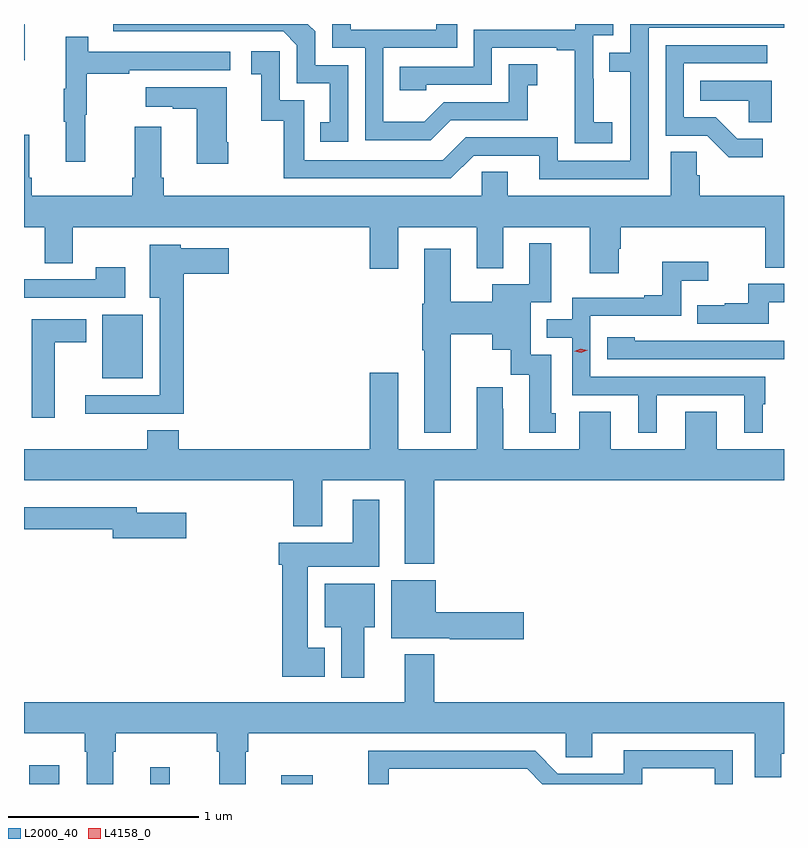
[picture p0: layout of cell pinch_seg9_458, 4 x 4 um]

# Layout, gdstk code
import gdstk
lib = gdstk.Library(unit=1e-6, precision=1e-09)
def R(c, l, rs):  # rectangles x0, y0, x1, y1
    for r in rs: c.add(gdstk.rectangle(r[:2], r[2:], *l))
def P(c, l, *ps):  # polygons
    for p in ps: c.add(gdstk.Polygon(p, *l))
L2000_40 = (2000, 40)
L4158_0 = (4158, 0)

pinch_seg9_458 = lib.new_cell('pinch_seg9_458')
R(pinch_seg9_458, L2000_40, [(348.944,1165.517,349.102,1165.615), (349.58,1165.517,349.682,1165.606), (350.27,1165.517,350.436,1165.564), (349.328,1167.653,349.54,1167.988), (348.916,1169.325,348.921,1169.517)])
P(pinch_seg9_458, L2000_40, [(352.012,1168.999),(351.914,1168.999),(351.914,1169.228),(351.912,1169.228),(351.912,1169.457),(352.017,1169.457),(352.017,1169.517),(351.816,1169.517),(351.816,1169.487),(351.282,1169.487),(351.282,1169.292),(350.893,1169.292),(350.893,1169.169),(351.033,1169.169),(351.033,1169.196),(351.378,1169.196),(351.378,1169.391),(351.719,1169.391),(351.719,1169.379),(351.815,1169.379),(351.815,1169.095),(351.814,1169.095),(351.814,1168.889),(352.012,1168.889)],
  [(350.622,1169.301),(350.448,1169.301),(350.448,1169.478),(350.409,1169.517),(349.386,1169.517),(349.386,1169.478),(350.28,1169.478),(350.352,1169.406),(350.352,1169.205),(350.525,1169.205),(350.525,1169.001),(350.476,1169.001),(350.476,1168.896),(350.622,1168.896)],
  [(351.163,1169.01),(351.567,1169.01),(351.567,1169.195),(351.616,1169.195),(351.616,1169.305),(351.468,1169.305),(351.468,1169.106),(351.126,1169.106),(351.022,1169.002),(350.808,1169.002),(350.808,1169.391),(351.197,1169.391),(351.197,1169.517),(351.086,1169.517),(351.086,1169.487),(350.635,1169.487),(350.635,1169.517),(350.538,1169.517),(350.538,1169.391),(350.712,1169.391),(350.712,1168.905),(351.058,1168.905)],
  [(352.203,1169.496),(352.916,1169.496),(352.916,1169.517),(352.107,1169.517),(352.107,1169.367),(351.997,1169.367),(351.997,1169.266),(352.107,1169.266),(352.107,1168.797),(351.726,1168.797),(351.726,1168.92),(351.24,1168.92),(351.12,1168.8),(350.391,1168.8),(350.391,1169.115),(350.262,1169.115),(350.262,1169.374),(350.112,1169.374),(350.112,1169.253),(350.165,1169.253),(350.165,1169.007),(350.283,1169.007),(350.283,1168.704),(351.162,1168.704),(351.282,1168.824),(351.629,1168.824),(351.629,1168.701),(352.203,1168.701)],
  [(349.238,1169.04),(349.246,1169.04),(349.246,1169.254),(349.469,1169.254),(349.469,1169.274),(350.002,1169.274),(350.002,1169.37),(349.253,1169.37),(349.253,1169.449),(349.136,1169.449),(349.136,1169.177),(349.125,1169.177),(349.125,1169.003),(349.136,1169.003),(349.136,1168.791),(349.238,1168.791)],
  [(352.804,1168.914),(352.669,1168.914),(352.558,1169.025),(352.389,1169.025),(352.389,1169.31),(352.828,1169.31),(352.828,1169.406),(352.293,1169.406),(352.293,1168.929),(352.512,1168.929),(352.625,1168.817),(352.804,1168.817)],
  [(352.852,1169.218),(352.474,1169.218),(352.474,1169.114),(352.731,1169.114),(352.731,1168.999),(352.852,1168.999)],
  [(349.992,1168.894),(349.984,1168.894),(349.984,1169.185),(349.557,1169.185),(349.557,1169.081),(349.7,1169.081),(349.7,1169.071),(349.826,1169.071),(349.826,1168.782),(349.992,1168.782)],
  [(352.045,1168.335),(352.058,1168.335),(352.058,1168.448),(352.818,1168.448),(352.818,1168.234),(352.916,1168.234),(352.916,1168.612),(352.472,1168.612),(352.472,1168.721),(352.458,1168.721),(352.458,1168.844),(352.319,1168.844),(352.319,1168.612),(351.463,1168.612),(351.463,1168.739),(351.324,1168.739),(351.324,1168.612),(349.652,1168.612),(349.652,1168.708),(349.639,1168.708),(349.639,1168.975),(349.499,1168.975),(349.499,1168.708),(349.487,1168.708),(349.487,1168.612),(348.956,1168.612),(348.956,1168.708),(348.943,1168.708),(348.943,1168.933),(348.916,1168.933),(348.916,1168.448),(349.025,1168.448),(349.025,1168.258),(349.173,1168.258),(349.173,1168.448),(350.735,1168.448),(350.735,1168.23),(350.887,1168.23),(350.887,1168.448),(351.299,1168.448),(351.299,1168.232),(351.439,1168.232),(351.439,1168.448),(351.893,1168.448),(351.893,1168.206),(352.045,1168.206)],
  [(351.163,1167.884),(351.38,1167.884),(351.38,1167.803),(351.479,1167.803),(351.479,1167.672),(351.575,1167.672),(351.575,1167.366),(351.715,1167.366),(351.715,1167.468),(351.691,1167.468),(351.691,1167.777),(351.582,1167.777),(351.582,1168.053),(351.691,1168.053),(351.691,1168.363),(351.575,1168.363),(351.575,1168.147),(351.38,1168.147),(351.38,1168.056),(351.163,1168.056),(351.163,1168.333),(351.023,1168.333),(351.023,1168.044),(351.011,1168.044),(351.011,1167.8),(351.023,1167.8),(351.023,1167.365),(351.163,1167.365)],
  [(349.757,1168.202),(349.993,1168.202),(349.993,1168.336),(349.74,1168.336),(349.74,1168.354),(349.577,1168.354),(349.577,1168.076),(349.631,1168.076),(349.631,1167.564),(349.239,1167.564),(349.239,1167.467),(349.757,1167.467)],
  [(352.246,1167.564),(352.706,1167.564),(352.706,1167.365),(352.804,1167.365),(352.804,1167.516),(352.816,1167.516),(352.816,1167.66),(351.897,1167.66),(351.897,1167.981),(352.374,1167.981),(352.374,1168.166),(352.516,1168.166),(352.516,1168.265),(352.276,1168.265),(352.276,1168.09),(352.181,1168.09),(352.181,1168.077),(351.801,1168.077),(351.801,1167.963),(351.668,1167.963),(351.668,1167.867),(351.801,1167.867),(351.801,1167.564),(352.148,1167.564),(352.148,1167.365),(352.246,1167.365)],
  [(349.45,1168.237),(349.294,1168.237),(349.294,1168.173),(348.916,1168.173),(348.916,1168.077),(349.45,1168.077)],
  [(352.837,1168.052),(352.916,1168.052),(352.916,1168.149),(352.727,1168.149),(352.727,1168.048),(352.603,1168.048),(352.603,1168.036),(352.459,1168.036),(352.459,1167.939),(352.837,1167.939)],
  [(349.078,1167.842),(349.243,1167.842),(349.243,1167.964),(348.956,1167.964),(348.956,1167.444),(349.078,1167.444)],
  [(352.916,1167.849),(352.367,1167.849),(352.367,1167.85),(352.131,1167.85),(352.131,1167.868),(351.987,1167.868),(351.987,1167.753),(352.916,1167.753)],
  [(351.074,1167.116),(352.916,1167.116),(352.916,1167.28),(352.561,1167.28),(352.561,1167.475),(352.397,1167.475),(352.397,1167.28),(352.003,1167.28),(352.003,1167.475),(351.839,1167.475),(351.839,1167.28),(351.439,1167.28),(351.439,1167.491),(351.436,1167.491),(351.436,1167.604),(351.299,1167.604),(351.299,1167.28),(350.887,1167.28),(350.887,1167.682),(350.735,1167.682),(350.735,1167.28),(349.73,1167.28),(349.73,1167.379),(349.565,1167.379),(349.565,1167.28),(348.916,1167.28),(348.916,1167.116),(350.333,1167.116),(350.333,1166.873),(350.485,1166.873),(350.485,1167.116),(350.921,1167.116),(350.921,1166.675),(351.074,1166.675)],
  [(350.5,1166.233),(350.41,1166.233),(350.41,1166.66),(350.785,1166.66),(350.785,1167.013),(350.645,1167.013),(350.645,1166.788),(350.258,1166.788),(350.258,1166.67),(350.276,1166.67),(350.276,1166.081),(350.5,1166.081)],
  [(349.771,1166.944),(349.51,1166.944),(349.51,1166.974),(348.916,1166.974),(348.916,1166.857),(349.382,1166.857),(349.382,1166.81),(349.771,1166.81)],
  [(351.547,1166.42),(351.082,1166.42),(351.082,1166.59),(350.849,1166.59),(350.849,1166.285),(351.157,1166.285),(351.157,1166.278),(351.547,1166.278)],
  [(350.707,1166.342),(350.761,1166.342),(350.761,1166.572),(350.498,1166.572),(350.498,1166.342),(350.585,1166.342),(350.585,1166.076),(350.707,1166.076)],
  [(349.387,1165.688),(349.4,1165.688),(349.4,1165.784),(349.931,1165.784),(349.931,1165.688),(349.943,1165.688),(349.943,1165.517),(350.083,1165.517),(350.083,1165.688),(350.096,1165.688),(350.096,1165.784),(351.768,1165.784),(351.768,1165.657),(351.907,1165.657),(351.907,1165.784),(352.763,1165.784),(352.763,1165.552),(352.902,1165.552),(352.902,1165.675),(352.916,1165.675),(352.916,1165.948),(351.074,1165.948),(351.074,1166.2),(350.921,1166.2),(350.921,1165.948),(348.916,1165.948),(348.916,1165.784),(349.235,1165.784),(349.235,1165.688),(349.247,1165.688),(349.247,1165.517),(349.387,1165.517)],
  [(350.835,1165.596),(351.564,1165.596),(351.643,1165.517),(352.17,1165.517),(352.17,1165.599),(352.551,1165.599),(352.551,1165.517),(352.647,1165.517),(352.647,1165.695),(352.073,1165.695),(352.073,1165.572),(351.726,1165.572),(351.606,1165.692),(350.727,1165.692),(350.727,1165.517),(350.835,1165.517)])
P(pinch_seg9_458, L4158_0, [(351.848,1167.787),(351.812,1167.795),(351.812,1167.795),(351.812,1167.795),(351.846,1167.807),(351.881,1167.8),(351.882,1167.8),(351.881,1167.8)])

lib.write_gds('pinch_seg9_458.gds')
